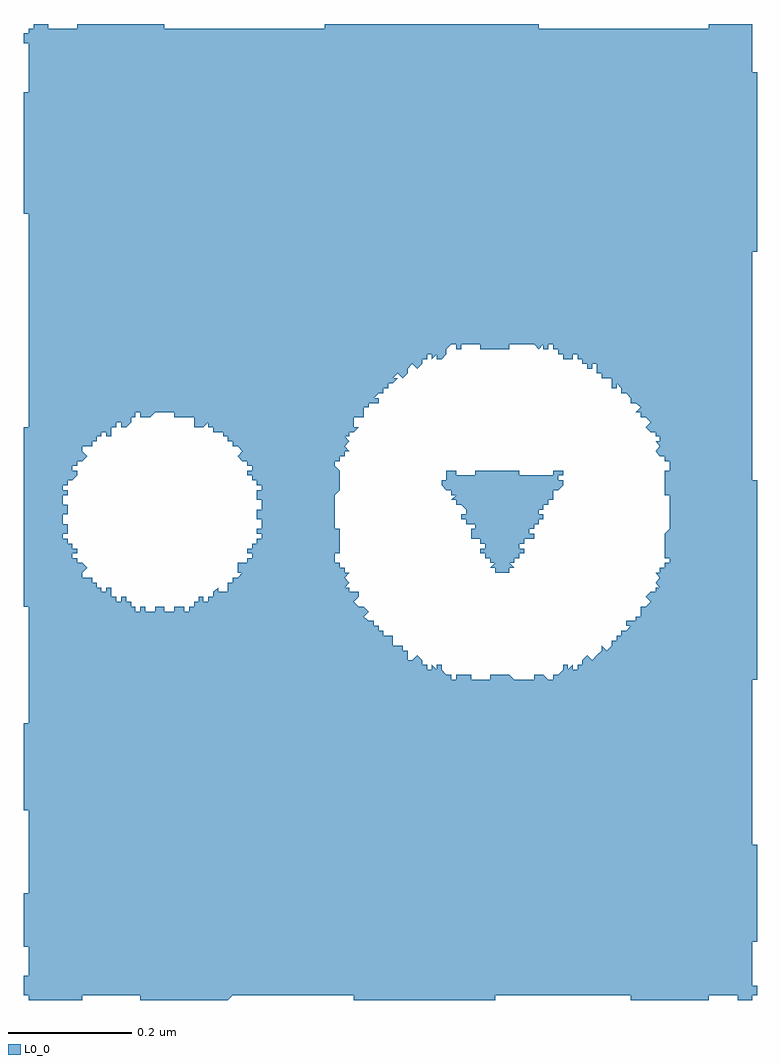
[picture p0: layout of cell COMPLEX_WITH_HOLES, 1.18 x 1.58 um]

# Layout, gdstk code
import gdstk
lib = gdstk.Library(unit=1e-6, precision=1e-09)
def R(c, l, rs):  # rectangles x0, y0, x1, y1
    for r in rs: c.add(gdstk.rectangle(r[:2], r[2:], *l))
def P(c, l, *ps):  # polygons
    for p in ps: c.add(gdstk.Polygon(p, *l))
L0_0 = (0, 0)

complex_with_holes = lib.new_cell('COMPLEX_WITH_HOLES')
R(complex_with_holes, L0_0, [(0.106,-0.012,0.114,-0.004), (0.231,-0.012,0.239,-0.004)])
P(complex_with_holes, L0_0, [(-0.506,-0.78),(-0.412,-0.78),(-0.412,-0.788),(-0.271,-0.788),(-0.263,-0.78),(-0.067,-0.78),(-0.067,-0.788),(0.161,-0.788),(0.161,-0.78),(0.38,-0.78),(0.38,-0.788),(0.506,-0.788),(0.506,-0.78),(0.553,-0.78),(0.553,-0.788),(0.576,-0.788),(0.576,-0.78),(0.584,-0.78),(0.584,-0.765),(0.576,-0.765),(0.576,-0.694),(0.584,-0.694),(0.584,-0.537),(0.576,-0.537),(0.576,-0.271),(0.584,-0.271),(0.584,-0.129),(0.412,-0.129),(0.404,-0.137),(0.412,-0.145),(0.404,-0.153),(0.396,-0.153),(0.396,-0.169),(0.388,-0.169),(0.388,-0.176),(0.373,-0.176),(0.373,-0.184),(0.38,-0.184),(0.373,-0.192),(0.365,-0.192),(0.365,-0.2),(0.357,-0.2),(0.357,-0.208),(0.349,-0.208),(0.349,-0.216),(0.341,-0.224),(0.333,-0.216),(0.333,-0.224),(0.325,-0.231),(0.318,-0.239),(0.31,-0.231),(0.302,-0.239),(0.302,-0.247),(0.294,-0.247),(0.294,-0.255),(0.286,-0.255),(0.286,-0.247),(0.278,-0.255),(0.278,-0.247),(0.271,-0.247),(0.271,-0.255),(0.263,-0.263),(0.255,-0.263),(0.255,-0.271),(0.247,-0.271),(0.239,-0.263),(0.224,-0.263),(0.224,-0.271),(0.192,-0.271),(0.184,-0.263),(0.153,-0.263),(0.153,-0.271),(0.122,-0.271),(0.122,-0.263),(0.098,-0.263),(0.098,-0.271),(0.09,-0.271),(0.09,-0.263),(0.082,-0.263),(0.075,-0.255),(0.075,-0.247),(0.067,-0.247),(0.067,-0.255),(0.059,-0.247),(0.059,-0.255),(0.051,-0.255),(0.051,-0.247),(0.043,-0.247),(0.043,-0.239),(0.035,-0.231),(0.027,-0.239),(0.02,-0.239),(0.02,-0.224),(0.012,-0.224),(0.012,-0.216),(-0.004,-0.216),(-0.004,-0.2),(-0.02,-0.2),(-0.02,-0.192),(-0.027,-0.192),(-0.027,-0.184),(-0.035,-0.184),(-0.035,-0.176),(-0.043,-0.176),(-0.051,-0.169),(-0.043,-0.161),(-0.051,-0.153),(-0.059,-0.153),(-0.067,-0.145),(-0.059,-0.137),(-0.059,-0.129),(-0.294,-0.129),(-0.294,-0.137),(-0.302,-0.137),(-0.302,-0.145),(-0.31,-0.145),(-0.31,-0.137),(-0.318,-0.137),(-0.318,-0.145),(-0.325,-0.145),(-0.325,-0.153),(-0.333,-0.153),(-0.333,-0.161),(-0.341,-0.161),(-0.341,-0.153),(-0.357,-0.153),(-0.357,-0.161),(-0.373,-0.161),(-0.373,-0.153),(-0.388,-0.153),(-0.388,-0.161),(-0.404,-0.161),(-0.404,-0.153),(-0.412,-0.153),(-0.412,-0.161),(-0.42,-0.161),(-0.42,-0.153),(-0.427,-0.153),(-0.427,-0.145),(-0.435,-0.145),(-0.435,-0.137),(-0.443,-0.137),(-0.443,-0.145),(-0.451,-0.145),(-0.451,-0.137),(-0.459,-0.137),(-0.459,-0.129),(-0.6,-0.129),(-0.6,-0.153),(-0.592,-0.153),(-0.592,-0.341),(-0.6,-0.341),(-0.6,-0.482),(-0.592,-0.482),(-0.592,-0.616),(-0.6,-0.616),(-0.6,-0.702),(-0.592,-0.702),(-0.592,-0.749),(-0.6,-0.749),(-0.6,-0.78),(-0.592,-0.78),(-0.592,-0.788),(-0.506,-0.788)],
  [(-0.459,-0.129),(-0.459,-0.122),(-0.467,-0.122),(-0.467,-0.129),(-0.475,-0.129),(-0.475,-0.122),(-0.482,-0.122),(-0.482,-0.114),(-0.49,-0.114),(-0.49,-0.106),(-0.506,-0.106),(-0.506,-0.098),(-0.498,-0.09),(-0.506,-0.082),(-0.514,-0.082),(-0.514,-0.075),(-0.522,-0.075),(-0.522,-0.067),(-0.514,-0.067),(-0.514,-0.059),(-0.522,-0.059),(-0.522,-0.051),(-0.529,-0.051),(-0.529,-0.043),(-0.537,-0.043),(-0.537,-0.035),(-0.529,-0.035),(-0.529,-0.02),(-0.537,-0.02),(-0.537,-0.004),(-0.529,-0.004),(-0.529,0.012),(-0.537,0.012),(-0.537,0.027),(-0.529,0.027),(-0.529,0.035),(-0.537,0.035),(-0.537,0.043),(-0.529,0.043),(-0.529,0.051),(-0.522,0.051),(-0.514,0.059),(-0.514,0.067),(-0.522,0.067),(-0.522,0.075),(-0.514,0.075),(-0.514,0.082),(-0.506,0.082),(-0.498,0.09),(-0.506,0.098),(-0.506,0.106),(-0.49,0.106),(-0.49,0.114),(-0.6,0.114),(-0.6,-0.129)],
  [(-0.255,-0.098),(-0.247,-0.098),(-0.255,-0.106),(-0.263,-0.106),(-0.263,-0.114),(-0.271,-0.114),(-0.271,-0.129),(-0.286,-0.129),(-0.286,-0.122),(-0.294,-0.129),(-0.075,-0.129),(-0.075,-0.122),(-0.082,-0.122),(-0.075,-0.114),(-0.082,-0.106),(-0.075,-0.098),(-0.082,-0.098),(-0.082,-0.09),(-0.09,-0.09),(-0.09,-0.082),(-0.098,-0.082),(-0.098,-0.067),(-0.09,-0.067),(-0.09,-0.027),(-0.098,-0.027),(-0.098,0.027),(-0.09,0.035),(-0.09,0.067),(-0.098,0.075),(-0.098,0.082),(-0.09,0.082),(-0.09,0.09),(-0.082,0.09),(-0.082,0.098),(-0.075,0.098),(-0.082,0.106),(-0.075,0.114),(-0.263,0.114),(-0.263,0.106),(-0.255,0.106),(-0.247,0.098),(-0.255,0.09),(-0.247,0.082),(-0.239,0.082),(-0.239,0.075),(-0.231,0.075),(-0.231,0.067),(-0.239,0.067),(-0.239,0.059),(-0.231,0.059),(-0.231,0.051),(-0.224,0.051),(-0.224,0.043),(-0.216,0.043),(-0.216,0.035),(-0.224,0.035),(-0.224,0.02),(-0.216,0.02),(-0.216,0.004),(-0.224,0.004),(-0.224,-0.012),(-0.216,-0.012),(-0.216,-0.027),(-0.224,-0.027),(-0.224,-0.035),(-0.216,-0.035),(-0.216,-0.043),(-0.224,-0.043),(-0.224,-0.051),(-0.231,-0.051),(-0.231,-0.059),(-0.239,-0.059),(-0.239,-0.067),(-0.231,-0.067),(-0.231,-0.075),(-0.239,-0.075),(-0.239,-0.082),(-0.255,-0.082)],
  [(0.584,0.051),(0.576,0.051),(0.576,0.114),(0.42,0.114),(0.427,0.106),(0.42,0.098),(0.427,0.09),(0.435,0.09),(0.435,0.082),(0.443,0.082),(0.443,0.067),(0.435,0.067),(0.435,0.027),(0.443,0.027),(0.443,-0.027),(0.435,-0.035),(0.435,-0.075),(0.443,-0.075),(0.443,-0.082),(0.435,-0.082),(0.435,-0.09),(0.427,-0.09),(0.427,-0.098),(0.42,-0.098),(0.427,-0.106),(0.42,-0.114),(0.427,-0.122),(0.42,-0.122),(0.42,-0.129),(0.584,-0.129)],
  [(-0.482,0.122),(-0.475,0.122),(-0.475,0.129),(-0.467,0.129),(-0.467,0.122),(-0.459,0.122),(-0.459,0.137),(-0.451,0.137),(-0.451,0.145),(-0.443,0.145),(-0.443,0.137),(-0.435,0.137),(-0.427,0.145),(-0.427,0.153),(-0.42,0.153),(-0.42,0.161),(-0.412,0.161),(-0.412,0.153),(-0.396,0.153),(-0.388,0.161),(-0.357,0.161),(-0.357,0.153),(-0.325,0.153),(-0.325,0.137),(-0.31,0.137),(-0.302,0.145),(-0.302,0.137),(-0.294,0.137),(-0.294,0.129),(-0.278,0.129),(-0.278,0.122),(-0.271,0.122),(-0.271,0.114),(-0.075,0.114),(-0.082,0.122),(-0.075,0.122),(-0.075,0.129),(-0.067,0.129),(-0.059,0.137),(-0.067,0.137),(-0.067,0.153),(-0.051,0.153),(-0.051,0.169),(-0.043,0.169),(-0.043,0.176),(-0.027,0.176),(-0.027,0.184),(-0.035,0.184),(-0.027,0.192),(-0.02,0.192),(-0.02,0.2),(-0.012,0.2),(-0.012,0.208),(-0.004,0.208),(0.004,0.216),(-0.004,0.216),(0.004,0.224),(0.012,0.216),(0.02,0.224),(0.02,0.231),(0.027,0.239),(0.035,0.231),(0.043,0.239),(0.043,0.247),(0.051,0.247),(0.051,0.255),(0.059,0.255),(0.059,0.247),(0.067,0.255),(0.067,0.247),(0.075,0.247),(0.082,0.255),(0.082,0.263),(0.09,0.271),(0.098,0.271),(0.098,0.263),(0.106,0.263),(0.106,0.271),(0.137,0.271),(0.137,0.263),(0.184,0.263),(0.184,0.271),(0.224,0.271),(0.231,0.263),(0.239,0.271),(0.239,0.263),(0.247,0.263),(0.247,0.271),(0.255,0.271),(0.255,0.263),(0.263,0.263),(0.263,0.255),(0.271,0.255),(0.271,0.247),(0.286,0.247),(0.286,0.255),(0.294,0.255),(0.294,0.247),(0.302,0.247),(0.302,0.239),(0.31,0.239),(0.31,0.231),(0.318,0.231),(0.318,0.239),(0.325,0.239),(0.325,0.224),(0.333,0.224),(0.333,0.216),(0.349,0.216),(0.349,0.2),(0.357,0.2),(0.357,0.208),(0.365,0.2),(0.365,0.192),(0.373,0.192),(0.38,0.184),(0.38,0.176),(0.388,0.176),(0.396,0.169),(0.388,0.161),(0.396,0.161),(0.396,0.153),(0.404,0.153),(0.412,0.145),(0.404,0.137),(0.412,0.129),(0.42,0.129),(0.42,0.122),(0.427,0.122),(0.427,0.114),(0.576,0.114),(0.576,0.42),(0.584,0.42),(0.584,0.71),(0.576,0.71),(0.576,0.788),(0.506,0.788),(0.506,0.78),(0.231,0.78),(0.231,0.788),(-0.114,0.788),(-0.114,0.78),(-0.373,0.78),(-0.373,0.788),(-0.514,0.788),(-0.514,0.78),(-0.561,0.78),(-0.561,0.788),(-0.584,0.788),(-0.584,0.78),(-0.592,0.78),(-0.592,0.773),(-0.6,0.773),(-0.6,0.757),(-0.592,0.757),(-0.592,0.678),(-0.6,0.678),(-0.6,0.482),(-0.592,0.482),(-0.592,0.137),(-0.6,0.137),(-0.6,0.114),(-0.482,0.114)],
  [(0.114,0.059),(0.098,0.059),(0.098,0.067),(0.082,0.067),(0.082,0.051),(0.075,0.051),(0.075,0.043),(0.082,0.035),(0.09,0.035),(0.09,0.027),(0.098,0.027),(0.09,0.02),(0.098,0.02),(0.098,0.012),(0.106,0.012),(0.114,0.004)],
  [(0.129,-0.02),(0.129,-0.027),(0.122,-0.027),(0.122,-0.043),(0.137,-0.043),(0.137,-0.051),(0.145,-0.051),(0.145,-0.059),(0.137,-0.059),(0.137,-0.067),(0.145,-0.067),(0.145,-0.075),(0.153,-0.075),(0.153,0.067),(0.129,0.067),(0.129,0.059),(0.114,0.059),(0.114,-0.02)],
  [(0.153,0.067),(0.153,-0.082),(0.161,-0.082),(0.153,-0.09),(0.161,-0.09),(0.161,-0.098),(0.184,-0.098),(0.184,-0.09),(0.192,-0.09),(0.184,-0.082),(0.192,-0.082),(0.192,0.067)],
  [(0.2,0.059),(0.2,0.067),(0.192,0.067),(0.192,-0.075),(0.2,-0.075),(0.2,-0.067),(0.208,-0.067),(0.208,-0.059),(0.2,-0.059),(0.2,-0.051),(0.208,-0.051),(0.208,-0.043),(0.224,-0.043),(0.224,-0.035),(0.216,-0.035),(0.216,-0.027),(0.224,-0.027),(0.224,-0.02),(0.231,-0.02),(0.231,0.059)],
  [(0.239,0.004),(0.239,0.012),(0.247,0.012),(0.247,0.02),(0.255,0.02),(0.255,0.035),(0.263,0.035),(0.271,0.043),(0.271,0.051),(0.263,0.051),(0.263,0.059),(0.271,0.059),(0.271,0.067),(0.255,0.067),(0.255,0.059),(0.231,0.059),(0.231,0.004)])

lib.write_gds('COMPLEX_WITH_HOLES.gds')
